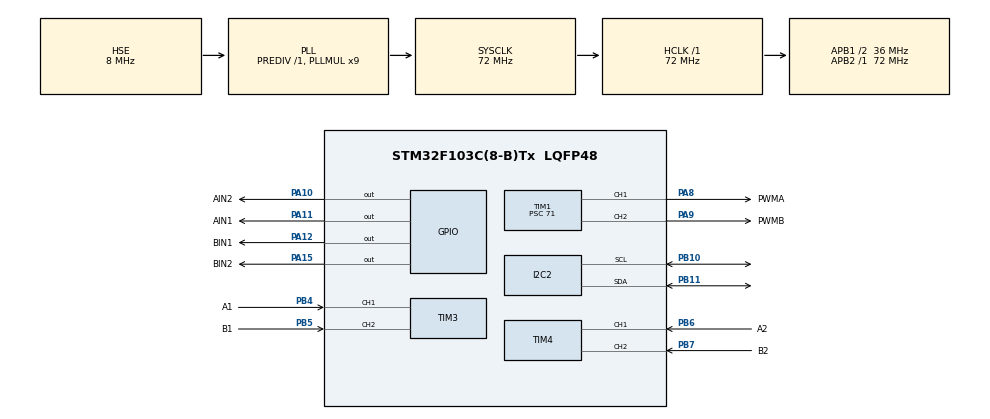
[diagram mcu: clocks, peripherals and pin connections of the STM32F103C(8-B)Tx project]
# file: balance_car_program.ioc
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I2C2.I2C_Mode=I2C_Fast
Mcu.Family=STM32F1
Mcu.Name=STM32F103C(8-B)Tx
Mcu.Package=LQFP48
NVIC.I2C2_EV_IRQn=true\:0\:0\:false\:false\:true\:true\:true\:true
NVIC.PriorityGroup=NVIC_PRIORITYGROUP_4
NVIC.TIM2_IRQn=true\:15\:0\:false\:false\:true\:false\:true\:true
NVIC.TimeBase=TIM2_IRQn
NVIC.TimeBaseIP=TIM2
PA10.GPIO_Label=AIN2
PA10.Signal=GPIO_Output
PA11.GPIO_Label=AIN1
PA11.PinState=GPIO_PIN_SET
PA11.Signal=GPIO_Output
PA12.GPIO_Label=BIN1
PA12.Signal=GPIO_Output
PA13.Mode=Serial_Wire
PA13.Signal=SYS_JTMS-SWDIO
PA14.Mode=Serial_Wire
PA14.Signal=SYS_JTCK-SWCLK
PA15.GPIO_Label=BIN2
PA15.PinState=GPIO_PIN_SET
PA15.Signal=GPIO_Output
PA8.GPIO_Label=PWMA
PA8.Signal=S_TIM1_CH1
PA9.GPIO_Label=PWMB
PA9.Signal=S_TIM1_CH2
PB10.Mode=I2C
PB10.Signal=I2C2_SCL
PB11.Mode=I2C
PB11.Signal=I2C2_SDA
PB4.GPIO_Label=A1
PB4.Signal=S_TIM3_CH1
PB5.GPIO_Label=B1
PB5.Signal=S_TIM3_CH2
PB6.GPIO_Label=A2
PB6.Signal=S_TIM4_CH1
PB7.GPIO_Label=B2
PB7.Signal=S_TIM4_CH2
PD0-OSC_IN.Mode=HSE-External-Oscillator
PD0-OSC_IN.Signal=RCC_OSC_IN
PD1-OSC_OUT.Mode=HSE-External-Oscillator
PD1-OSC_OUT.Signal=RCC_OSC_OUT
ProjectManager.HeapSize=0x200
ProjectManager.StackSize=0x400
ProjectManager.TargetToolchain=CMake
RCC.AHBFreq_Value=72000000
RCC.APB1CLKDivider=RCC_HCLK_DIV2
RCC.APB1Freq_Value=36000000
RCC.APB1TimFreq_Value=72000000
RCC.APB2Freq_Value=72000000
RCC.APB2TimFreq_Value=72000000
RCC.HCLKFreq_Value=72000000
RCC.PLLMUL=RCC_PLL_MUL9
RCC.PLLSourceVirtual=RCC_PLLSOURCE_HSE
RCC.SYSCLKFreq_VALUE=72000000
RCC.SYSCLKSource=RCC_SYSCLKSOURCE_PLLCLK
RCC.USBFreq_Value=72000000
SH.S_TIM1_CH1.0=TIM1_CH1,PWM Generation1 CH1
SH.S_TIM1_CH2.0=TIM1_CH2,PWM Generation2 CH2
SH.S_TIM3_CH1.0=TIM3_CH1,Encoder_Interface
SH.S_TIM3_CH2.0=TIM3_CH2,Encoder_Interface
SH.S_TIM4_CH1.0=TIM4_CH1,Encoder_Interface
SH.S_TIM4_CH2.0=TIM4_CH2,Encoder_Interface
TIM1.Channel-PWM\ Generation1\ CH1=TIM_CHANNEL_1
TIM1.Channel-PWM\ Generation2\ CH2=TIM_CHANNEL_2
TIM1.Period=999
TIM1.Prescaler=71
TIM3.EncoderMode=TIM_ENCODERMODE_TI12
TIM3.TIM_MasterSlaveMode=TIM_MASTERSLAVEMODE_DISABLE
TIM4.EncoderMode=TIM_ENCODERMODE_TI12
VP_SYS_VS_tim2.Mode=TIM2
VP_TIM1_VS_ClockSourceINT.Mode=Internal
board=custom

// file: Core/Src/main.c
/* USER CODE BEGIN Header */
/**
  ******************************************************************************
  * @file           : main.c
  * @brief          : Main program body
  ******************************************************************************
  * @attention
  *
  * Copyright (c) 2026 STMicroelectronics.
  * All rights reserved.
  *
  * This software is licensed under terms that can be found in the LICENSE file
  * in the root directory of this software component.
  * If no LICENSE file comes with this software, it is provided AS-IS.
  *
  ******************************************************************************
  */
/* USER CODE END Header */
#include "main.h"
#include "i2c.h"
#include "tim.h"
#include "gpio.h"

/* USER CODE BEGIN Includes */
#include "oled.h"
#include "MPU6050.h"
#include "oled_task.h"
#include "angle.h"
#include "motor.h"
#include "pid.h"
/* USER CODE END Includes */

/* USER CODE BEGIN PV */
TaskHandle_t angle_task_handle;
TaskHandle_t oled_task_handle;
TaskHandle_t speed_get_task_handle;
TaskHandle_t pid_angle_task_handle;
TaskHandle_t pid_speed_and_turn_task_handle;
/* USER CODE END PV */

void SystemClock_Config(void);

int main(void)
{

  /* USER CODE BEGIN 1 */
    BaseType_t xReturn;
  /* USER CODE END 1 */

  /* MCU Configuration--------------------------------------------------------*/

  /* Reset of all peripherals, Initializes the Flash interface and the Systick. */
  HAL_Init();

  /* Configure the system clock */
  SystemClock_Config();

  /* Initialize all configured peripherals */
  MX_GPIO_Init();
  MX_TIM1_Init();
  MX_I2C2_Init();
  MX_TIM3_Init();
  MX_TIM4_Init();
  /* USER CODE BEGIN 2 */
    OLED_Init();
//    OLED_Clear();
    MPU6050_init();
    angle_gyroY_calibration();
    pid_mailbox_init();
    motor_start();

    xReturn = xTaskCreate(angle_calculate_task, "angle_calculate_task", 128, NULL, 3, &angle_task_handle);
    configASSERT(xReturn == pdTRUE);

    xReturn = xTaskCreate(pid_angle_task, "pid_angle_task", 128, NULL, 3, &pid_angle_task_handle);
    configASSERT(xReturn == pdTRUE);

    xReturn = xTaskCreate(motor_get_speed_value_task, "motor_get_speed_value_task", 64, NULL, 2, &speed_get_task_handle);
    configASSERT(xReturn == pdTRUE);

    xReturn = xTaskCreate(pid_speed_and_turn_task, "pid_speed_and_turn_task", 128, NULL, 2, &pid_speed_and_turn_task_handle);
    configASSERT(xReturn == pdTRUE);

//    xReturn = xTaskCreate(oled_display_task, "oled_display_task", 128, NULL, 1, &oled_task_handle);
//    configASSERT(xReturn == pdTRUE);

    vTaskStartScheduler();

  /* USER CODE END 2 */

  /* Infinite loop */
  while (1)
  {

  }
}

void SystemClock_Config(void)
{
  RCC_OscInitTypeDef RCC_OscInitStruct = {0};
  RCC_ClkInitTypeDef RCC_ClkInitStruct = {0};

  /** Initializes the RCC Oscillators according to the specified parameters
  * in the RCC_OscInitTypeDef structure.
  */
  RCC_OscInitStruct.OscillatorType = RCC_OSCILLATORTYPE_HSE;
  RCC_OscInitStruct.HSEState = RCC_HSE_ON;
  RCC_OscInitStruct.HSEPredivValue = RCC_HSE_PREDIV_DIV1;
  RCC_OscInitStruct.HSIState = RCC_HSI_ON;
  RCC_OscInitStruct.PLL.PLLState = RCC_PLL_ON;
  RCC_OscInitStruct.PLL.PLLSource = RCC_PLLSOURCE_HSE;
  RCC_OscInitStruct.PLL.PLLMUL = RCC_PLL_MUL9;
  if (HAL_RCC_OscConfig(&RCC_OscInitStruct) != HAL_OK)
  {
    Error_Handler();
  }

  /** Initializes the CPU, AHB and APB buses clocks
  */
  RCC_ClkInitStruct.ClockType = RCC_CLOCKTYPE_HCLK|RCC_CLOCKTYPE_SYSCLK
                              |RCC_CLOCKTYPE_PCLK1|RCC_CLOCKTYPE_PCLK2;
  RCC_ClkInitStruct.SYSCLKSource = RCC_SYSCLKSOURCE_PLLCLK;
  RCC_ClkInitStruct.AHBCLKDivider = RCC_SYSCLK_DIV1;
  RCC_ClkInitStruct.APB1CLKDivider = RCC_HCLK_DIV2;
  RCC_ClkInitStruct.APB2CLKDivider = RCC_HCLK_DIV1;

  if (HAL_RCC_ClockConfig(&RCC_ClkInitStruct, FLASH_LATENCY_2) != HAL_OK)
  {
    Error_Handler();
  }
}

void HAL_TIM_PeriodElapsedCallback(TIM_HandleTypeDef *htim)
{
  if (htim->Instance == TIM2)
  {
    HAL_IncTick();
  }
}

void Error_Handler(void)
{
  __disable_irq();
  while (1)
  {
  }
}
